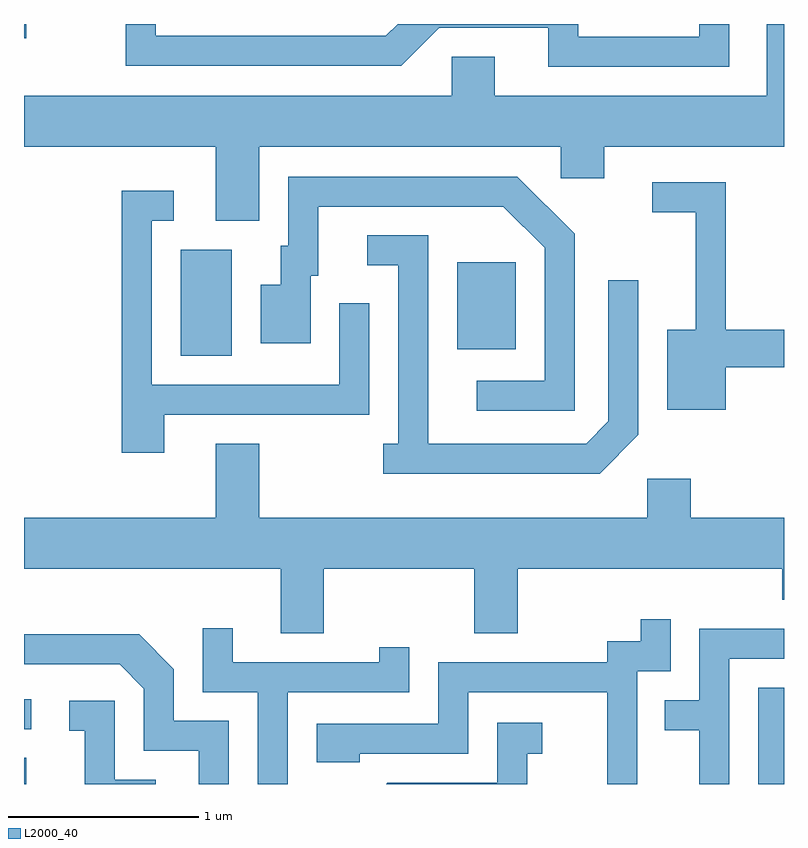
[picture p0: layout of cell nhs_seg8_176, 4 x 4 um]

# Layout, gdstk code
import gdstk
lib = gdstk.Library(unit=1e-6, precision=1e-09)
def R(c, l, rs):  # rectangles x0, y0, x1, y1
    for r in rs: c.add(gdstk.rectangle(r[:2], r[2:], *l))
def P(c, l, *ps):  # polygons
    for p in ps: c.add(gdstk.Polygon(p, *l))
L2000_40 = (2000, 40)

nhs_seg8_176 = lib.new_cell('nhs_seg8_176')
R(nhs_seg8_176, L2000_40, [(189.611,1886.342,189.624,1886.479), (193.476,1886.342,193.611,1886.849), (189.611,1886.631,189.648,1886.789), (190.436,1888.596,190.704,1889.154), (191.891,1888.631,192.199,1889.089), (189.611,1890.266,189.624,1890.342)])
P(nhs_seg8_176, L2000_40, [(190.849,1889.696),(192.436,1889.696),(192.436,1889.531),(192.664,1889.531),(192.664,1889.696),(193.611,1889.696),(193.611,1890.342),(193.521,1890.342),(193.521,1889.964),(192.089,1889.964),(192.089,1890.169),(191.861,1890.169),(191.861,1889.964),(189.611,1889.964),(189.611,1889.696),(190.621,1889.696),(190.621,1889.306),(190.849,1889.306)],
  [(193.324,1890.342),(193.166,1890.342),(193.166,1890.274),(192.529,1890.274),(192.529,1890.342),(191.577,1890.342),(191.514,1890.279),(190.304,1890.279),(190.304,1890.342),(190.146,1890.342),(190.146,1890.121),(191.597,1890.121),(191.797,1890.321),(192.371,1890.321),(192.371,1890.116),(193.324,1890.116)],
  [(192.509,1889.237),(192.207,1889.539),(191.001,1889.539),(191.001,1889.174),(190.961,1889.174),(190.961,1888.969),(190.856,1888.969),(190.856,1888.661),(191.119,1888.661),(191.119,1889.016),(191.159,1889.016),(191.159,1889.381),(192.134,1889.381),(192.351,1889.164),(192.351,1888.464),(191.993,1888.464),(191.993,1888.306),(192.509,1888.306)],
  [(193.304,1888.536),(193.611,1888.536),(193.611,1888.734),(193.304,1888.734),(193.304,1889.509),(192.918,1889.509),(192.918,1889.351),(193.146,1889.351),(193.146,1888.734),(192.996,1888.734),(192.996,1888.311),(193.304,1888.311)],
  [(190.349,1888.286),(191.429,1888.286),(191.429,1888.873),(191.271,1888.873),(191.271,1888.444),(190.284,1888.444),(190.284,1889.306),(190.398,1889.306),(190.398,1889.464),(190.126,1889.464),(190.126,1888.086),(190.349,1888.086)],
  [(192.844,1888.179),(192.844,1888.993),(192.686,1888.993),(192.686,1888.252),(192.569,1888.134),(191.739,1888.134),(191.739,1889.229),(191.418,1889.229),(191.418,1889.071),(191.581,1889.071),(191.581,1888.134),(191.503,1888.134),(191.503,1887.976),(192.642,1887.976)],
  [(191.189,1887.476),(191.981,1887.476),(191.981,1887.136),(192.209,1887.136),(192.209,1887.476),(193.601,1887.476),(193.601,1887.311),(193.611,1887.311),(193.611,1887.744),(193.119,1887.744),(193.119,1887.949),(192.891,1887.949),(192.891,1887.744),(190.849,1887.744),(190.849,1888.134),(190.621,1888.134),(190.621,1887.744),(189.611,1887.744),(189.611,1887.476),(190.961,1887.476),(190.961,1887.136),(191.189,1887.136)],
  [(192.839,1886.936),(193.014,1886.936),(193.014,1887.208),(192.856,1887.208),(192.856,1887.094),(192.681,1887.094),(192.681,1886.984),(191.791,1886.984),(191.791,1886.659),(191.151,1886.659),(191.151,1886.456),(191.379,1886.456),(191.379,1886.501),(191.949,1886.501),(191.949,1886.826),(192.681,1886.826),(192.681,1886.342),(192.839,1886.342)],
  [(190.999,1886.826),(191.639,1886.826),(191.639,1887.063),(191.481,1887.063),(191.481,1886.984),(190.709,1886.984),(190.709,1887.163),(190.551,1887.163),(190.551,1886.826),(190.841,1886.826),(190.841,1886.342),(190.999,1886.342)],
  [(193.324,1887.001),(193.611,1887.001),(193.611,1887.159),(193.166,1887.159),(193.166,1886.784),(192.983,1886.784),(192.983,1886.626),(193.166,1886.626),(193.166,1886.342),(193.324,1886.342)],
  [(190.689,1886.674),(190.399,1886.674),(190.399,1886.947),(190.217,1887.129),(189.611,1887.129),(189.611,1886.971),(190.114,1886.971),(190.241,1886.844),(190.241,1886.516),(190.531,1886.516),(190.531,1886.342),(190.689,1886.342)],
  [(190.304,1886.364),(190.089,1886.364),(190.089,1886.779),(189.848,1886.779),(189.848,1886.621),(189.931,1886.621),(189.931,1886.342),(190.304,1886.342)],
  [(192.259,1886.501),(192.338,1886.501),(192.338,1886.664),(192.101,1886.664),(192.101,1886.349),(191.524,1886.349),(191.517,1886.342),(192.259,1886.342)])

lib.write_gds('nhs_seg8_176.gds')
